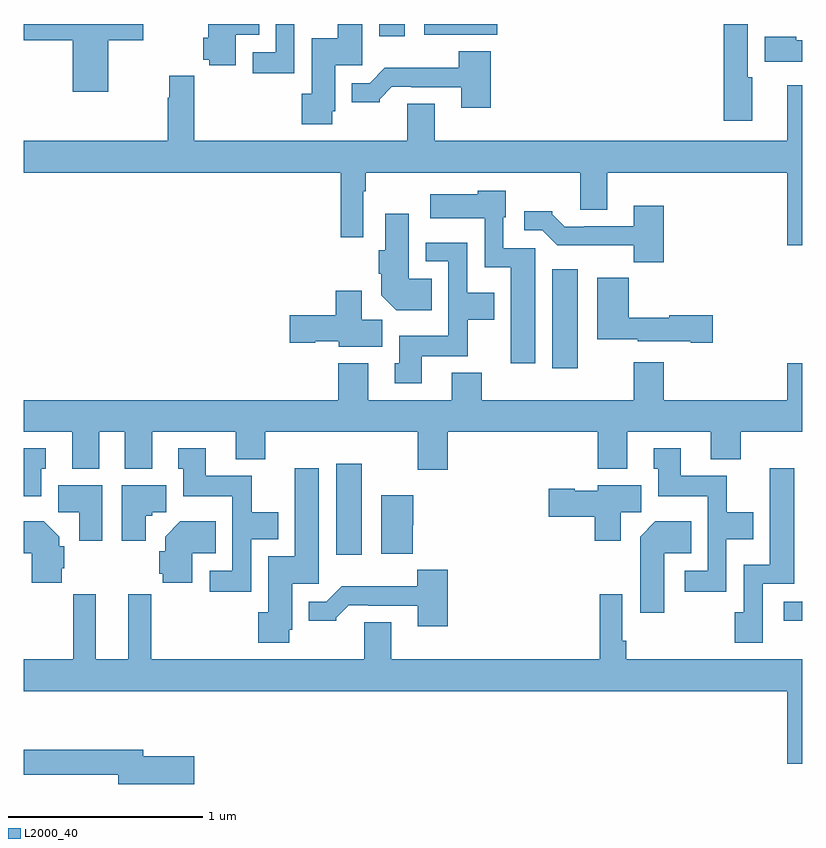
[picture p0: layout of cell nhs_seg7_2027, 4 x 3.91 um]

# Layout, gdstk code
import gdstk
lib = gdstk.Library(unit=1e-6, precision=1e-09)
def R(c, l, rs):  # rectangles x0, y0, x1, y1
    for r in rs: c.add(gdstk.rectangle(r[:2], r[2:], *l))
def P(c, l, *ps):  # polygons
    for p in ps: c.add(gdstk.Polygon(p, *l))
L2000_40 = (2000, 40)

nhs_seg7_2027 = lib.new_cell('nhs_seg7_2027')
R(nhs_seg7_2027, L2000_40, [(246.605,1045.272,246.736,1045.741), (247.715,1046.232,247.846,1046.74), (246.827,1047.936,246.958,1048), (247.058,1047.944,247.432,1048)])
P(nhs_seg7_2027, L2000_40, [(246.088,1047.944),(246.209,1047.944),(246.209,1048),(245.948,1048),(245.948,1047.93),(245.923,1047.93),(245.923,1047.816),(245.952,1047.816),(245.952,1047.787),(246.088,1047.787)],
  [(246.39,1048),(246.294,1048),(246.294,1047.855),(246.177,1047.855),(246.177,1047.747),(246.39,1047.747)],
  [(246.585,1047.552),(246.601,1047.552),(246.601,1047.789),(246.739,1047.789),(246.739,1048),(246.614,1048),(246.614,1047.928),(246.479,1047.928),(246.479,1047.642),(246.428,1047.642),(246.428,1047.486),(246.585,1047.486)],
  [(248.743,1047.726),(248.719,1047.726),(248.719,1048),(248.597,1048),(248.597,1047.504),(248.743,1047.504)],
  [(245.435,1047.916),(245.613,1047.916),(245.613,1048),(245,1048),(245,1047.916),(245.252,1047.916),(245.252,1047.651),(245.435,1047.651)],
  [(249,1047.916),(248.97,1047.916),(248.97,1047.934),(248.808,1047.934),(248.808,1047.806),(249,1047.806)],
  [(247.4,1047.859),(247.235,1047.859),(247.235,1047.775),(246.856,1047.775),(246.777,1047.696),(246.686,1047.696),(246.686,1047.599),(246.828,1047.599),(246.828,1047.614),(246.892,1047.678),(246.991,1047.678),(246.991,1047.675),(247.247,1047.675),(247.247,1047.57),(247.4,1047.57)],
  [(249,1047.685),(248.924,1047.685),(248.924,1047.4),(247.111,1047.4),(247.111,1047.59),(246.971,1047.59),(246.971,1047.4),(245.876,1047.4),(245.876,1047.733),(245.748,1047.733),(245.748,1047.62),(245.74,1047.62),(245.74,1047.4),(245,1047.4),(245,1047.236),(246.628,1047.236),(246.628,1046.904),(246.744,1046.904),(246.744,1047.14),(246.757,1047.14),(246.757,1047.236),(247.859,1047.236),(247.859,1047.046),(247.999,1047.046),(247.999,1047.236),(248.924,1047.236),(248.924,1046.862),(249,1046.862)],
  [(247.627,1046.847),(247.464,1046.847),(247.464,1047.006),(247.477,1047.006),(247.477,1047.142),(247.332,1047.142),(247.332,1047.124),(247.089,1047.124),(247.089,1047.002),(247.368,1047.002),(247.368,1046.75),(247.502,1046.75),(247.502,1046.256),(247.627,1046.256)],
  [(248.288,1047.067),(248.135,1047.067),(248.135,1046.961),(247.879,1046.961),(247.879,1046.958),(247.78,1046.958),(247.716,1047.022),(247.716,1047.037),(247.572,1047.037),(247.572,1046.94),(247.665,1046.94),(247.741,1046.864),(248.133,1046.864),(248.133,1046.777),(248.288,1046.777)],
  [(247.097,1046.692),(246.979,1046.692),(246.979,1047.025),(246.857,1047.025),(246.857,1046.838),(246.824,1046.838),(246.824,1046.716),(246.836,1046.716),(246.836,1046.606),(246.914,1046.528),(247.097,1046.528)],
  [(247.045,1046.294),(247.281,1046.294),(247.281,1046.48),(247.417,1046.48),(247.417,1046.62),(247.278,1046.62),(247.278,1046.877),(247.065,1046.877),(247.065,1046.781),(247.182,1046.781),(247.182,1046.398),(246.929,1046.398),(246.929,1046.256),(246.905,1046.256),(246.905,1046.154),(247.045,1046.154)],
  [(248.539,1046.504),(248.316,1046.504),(248.316,1046.491),(248.108,1046.491),(248.108,1046.695),(247.946,1046.695),(247.946,1046.381),(248.154,1046.381),(248.154,1046.369),(248.426,1046.369),(248.426,1046.362),(248.539,1046.362)],
  [(246.841,1046.48),(246.736,1046.48),(246.736,1046.629),(246.602,1046.629),(246.602,1046.504),(246.366,1046.504),(246.366,1046.362),(246.498,1046.362),(246.498,1046.369),(246.618,1046.369),(246.618,1046.342),(246.841,1046.342)],
  [(245,1045.904),(245.249,1045.904),(245.249,1045.715),(245.389,1045.715),(245.389,1045.904),(245.519,1045.904),(245.519,1045.715),(245.659,1045.715),(245.659,1045.904),(246.089,1045.904),(246.089,1045.763),(246.242,1045.763),(246.242,1045.904),(247.025,1045.904),(247.025,1045.71),(247.178,1045.71),(247.178,1045.904),(247.949,1045.904),(247.949,1045.715),(248.101,1045.715),(248.101,1045.904),(248.531,1045.904),(248.531,1045.763),(248.684,1045.763),(248.684,1045.904),(249,1045.904),(249,1046.257),(248.924,1046.257),(248.924,1046.068),(248.288,1046.068),(248.288,1046.263),(248.135,1046.263),(248.135,1046.068),(247.352,1046.068),(247.352,1046.209),(247.199,1046.209),(247.199,1046.068),(246.769,1046.068),(246.769,1046.257),(246.617,1046.257),(246.617,1046.068),(245,1046.068)],
  [(248.61,1045.352),(248.749,1045.352),(248.749,1045.492),(248.613,1045.492),(248.613,1045.678),(248.377,1045.678),(248.377,1045.819),(248.237,1045.819),(248.237,1045.716),(248.261,1045.716),(248.261,1045.574),(248.514,1045.574),(248.514,1045.191),(248.397,1045.191),(248.397,1045.083),(248.61,1045.083)],
  [(246.168,1045.352),(246.307,1045.352),(246.307,1045.492),(246.171,1045.492),(246.171,1045.678),(245.935,1045.678),(245.935,1045.819),(245.795,1045.819),(245.795,1045.716),(245.819,1045.716),(245.819,1045.574),(246.072,1045.574),(246.072,1045.191),(245.955,1045.191),(245.955,1045.083),(246.168,1045.083)],
  [(245.089,1045.716),(245.113,1045.716),(245.113,1045.819),(245,1045.819),(245,1045.574),(245.089,1045.574)],
  [(246.363,1044.888),(246.379,1044.888),(246.379,1045.125),(246.517,1045.125),(246.517,1045.717),(246.392,1045.717),(246.392,1045.264),(246.257,1045.264),(246.257,1044.978),(246.206,1044.978),(246.206,1044.822),(246.363,1044.822)],
  [(248.796,1045.125),(248.959,1045.125),(248.959,1045.717),(248.834,1045.717),(248.834,1045.222),(248.7,1045.222),(248.7,1044.978),(248.653,1044.978),(248.653,1044.822),(248.796,1044.822)],
  [(245.404,1045.63),(245.177,1045.63),(245.177,1045.492),(245.285,1045.492),(245.285,1045.344),(245.404,1045.344)],
  [(248.068,1045.492),(248.173,1045.492),(248.173,1045.63),(247.95,1045.63),(247.95,1045.603),(247.83,1045.603),(247.83,1045.611),(247.698,1045.611),(247.698,1045.469),(247.934,1045.469),(247.934,1045.344),(248.068,1045.344)],
  [(245.626,1045.474),(245.661,1045.474),(245.661,1045.492),(245.731,1045.492),(245.731,1045.63),(245.504,1045.63),(245.504,1045.344),(245.626,1045.344)],
  [(246.998,1045.425),(247,1045.425),(247,1045.579),(246.836,1045.579),(246.836,1045.277),(246.998,1045.277)],
  [(245.195,1045.203),(245.208,1045.203),(245.208,1045.317),(245.182,1045.317),(245.182,1045.366),(245.104,1045.444),(245,1045.444),(245,1045.28),(245.042,1045.28),(245.042,1045.13),(245.195,1045.13)],
  [(245.866,1045.28),(245.987,1045.28),(245.987,1045.444),(245.804,1045.444),(245.726,1045.366),(245.726,1045.29),(245.696,1045.29),(245.696,1045.176),(245.714,1045.176),(245.714,1045.13),(245.866,1045.13)],
  [(248.29,1045.28),(248.429,1045.28),(248.429,1045.444),(248.246,1045.444),(248.168,1045.366),(248.168,1044.975),(248.29,1044.975)],
  [(247.178,1045.195),(247.023,1045.195),(247.023,1045.111),(246.634,1045.111),(246.555,1045.032),(246.464,1045.032),(246.464,1044.935),(246.606,1044.935),(246.606,1044.95),(246.67,1045.014),(246.769,1045.014),(246.769,1045.011),(247.025,1045.011),(247.025,1044.906),(247.178,1044.906)],
  [(249,1044.736),(248.096,1044.736),(248.096,1044.832),(248.076,1044.832),(248.076,1045.069),(247.96,1045.069),(247.96,1044.736),(246.889,1044.736),(246.889,1044.926),(246.749,1044.926),(246.749,1044.736),(245.654,1044.736),(245.654,1045.069),(245.537,1045.069),(245.537,1044.736),(245.371,1044.736),(245.371,1045.069),(245.254,1045.069),(245.254,1044.736),(245,1044.736),(245,1044.572),(248.924,1044.572),(248.924,1044.198),(249,1044.198)],
  [(249,1045.035),(248.997,1045.032),(248.904,1045.032),(248.904,1044.935),(249,1044.935)],
  [(245.875,1044.237),(245.614,1044.237),(245.614,1044.271),(245,1044.271),(245,1044.142),(245.486,1044.142),(245.486,1044.095),(245.875,1044.095)])

lib.write_gds('nhs_seg7_2027.gds')
